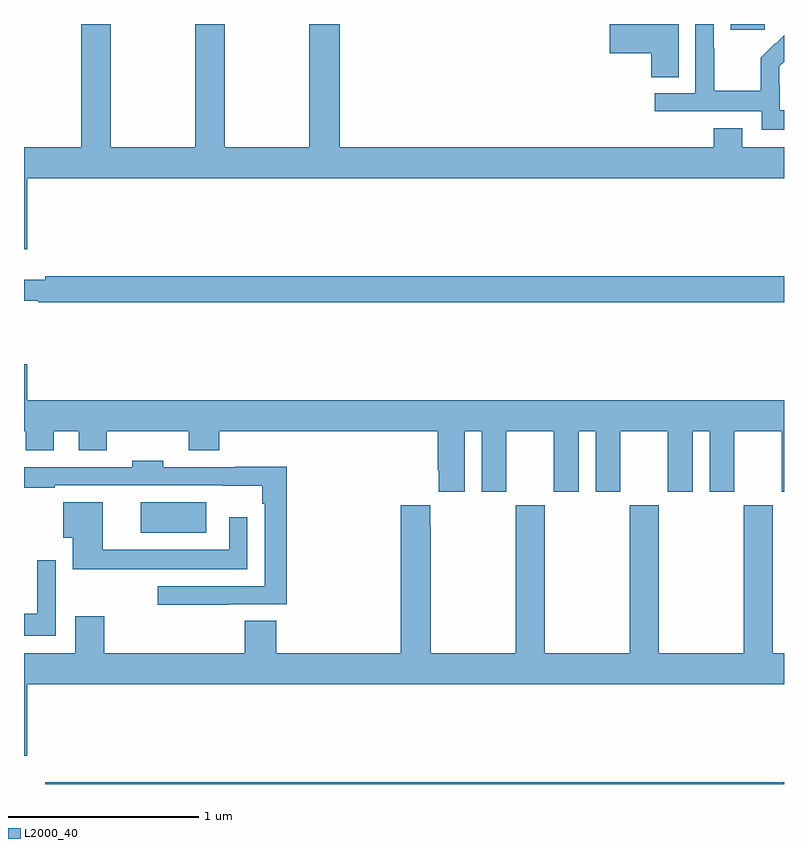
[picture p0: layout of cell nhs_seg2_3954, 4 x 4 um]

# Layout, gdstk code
import gdstk
lib = gdstk.Library(unit=1e-6, precision=1e-09)
def R(c, l, rs):  # rectangles x0, y0, x1, y1
    for r in rs: c.add(gdstk.rectangle(r[:2], r[2:], *l))
def P(c, l, *ps):  # polygons
    for p in ps: c.add(gdstk.Polygon(p, *l))
L2000_40 = (2000, 40)

nhs_seg2_3954 = lib.new_cell('nhs_seg2_3954')
R(nhs_seg2_3954, L2000_40, [(321.112,625.8,325,625.808), (321.615,627.122,321.958,627.283), (324.719,629.769,324.898,629.8)])
P(nhs_seg2_3954, L2000_40, [(321.016,628.988),(325,628.988),(325,629.152),(324.781,629.152),(324.781,629.251),(324.629,629.251),(324.629,629.152),(322.661,629.152),(322.661,629.8),(322.501,629.8),(322.501,629.152),(322.056,629.152),(322.056,629.8),(321.901,629.8),(321.901,629.152),(321.456,629.152),(321.456,629.8),(321.301,629.8),(321.301,629.152),(321,629.152),(321,628.614),(321.016,628.614)],
  [(325,629.347),(324.978,629.347),(324.978,629.481),(324.976,629.481),(324.976,629.578),(325,629.602),(325,629.74),(324.957,629.697),(324.954,629.7),(324.877,629.623),(324.877,629.449),(324.633,629.449),(324.633,629.672),(324.63,629.672),(324.63,629.8),(324.534,629.8),(324.534,629.436),(324.321,629.436),(324.321,629.34),(324.882,629.34),(324.882,629.243),(325,629.243)],
  [(324.445,629.8),(324.084,629.8),(324.084,629.645),(324.302,629.645),(324.302,629.521),(324.445,629.521)],
  [(325,628.472),(321.112,628.472),(321.112,628.453),(321,628.453),(321,628.344),(321.076,628.344),(321.076,628.336),(325,628.336)],
  [(323.32,627.656),(323.408,627.656),(323.408,627.339),(323.539,627.339),(323.539,627.656),(323.789,627.656),(323.789,627.339),(323.92,627.339),(323.92,627.656),(324.008,627.656),(324.008,627.339),(324.139,627.339),(324.139,627.656),(324.389,627.656),(324.389,627.339),(324.52,627.339),(324.52,627.656),(324.608,627.656),(324.608,627.339),(324.739,627.339),(324.739,627.656),(324.989,627.656),(324.989,627.339),(325,627.339),(325,627.82),(321.016,627.82),(321.016,628.009),(321,628.009),(321,627.656),(321.01,627.656),(321.01,627.557),(321.157,627.557),(321.157,627.656),(321.287,627.656),(321.287,627.557),(321.435,627.557),(321.435,627.656),(321.868,627.656),(321.868,627.557),(322.028,627.557),(322.028,627.656),(323.177,627.656),(323.177,627.451),(323.183,627.451),(323.183,627.339),(323.32,627.339)],
  [(322.079,626.745),(322.382,626.745),(322.382,627.47),(322.111,627.47),(322.111,627.468),(321.734,627.468),(321.734,627.502),(321.569,627.502),(321.569,627.468),(321,627.468),(321,627.36),(321.161,627.36),(321.161,627.372),(322.045,627.372),(322.045,627.371),(322.254,627.371),(322.254,627.275),(322.266,627.275),(322.266,626.841),(321.705,626.841),(321.705,626.743),(322.079,626.743)],
  [(322.176,627.205),(322.08,627.205),(322.08,627.034),(321.415,627.034),(321.415,627.283),(321.206,627.283),(321.206,627.097),(321.257,627.097),(321.257,626.93),(322.176,626.93)],
  [(321.016,626.324),(325,626.324),(325,626.488),(324.942,626.488),(324.942,627.268),(324.787,627.268),(324.787,626.488),(324.342,626.488),(324.342,627.268),(324.187,627.268),(324.187,626.488),(323.742,626.488),(323.742,627.268),(323.587,627.268),(323.587,626.488),(323.142,626.488),(323.142,627.155),(323.137,627.155),(323.137,627.268),(322.982,627.268),(322.982,626.488),(322.328,626.488),(322.328,626.66),(322.163,626.66),(322.163,626.488),(321.422,626.488),(321.422,626.683),(321.269,626.683),(321.269,626.488),(321,626.488),(321,625.95),(321.016,625.95)],
  [(321.168,626.977),(321.071,626.977),(321.071,626.696),(321,626.696),(321,626.58),(321.168,626.58)])

lib.write_gds('nhs_seg2_3954.gds')
